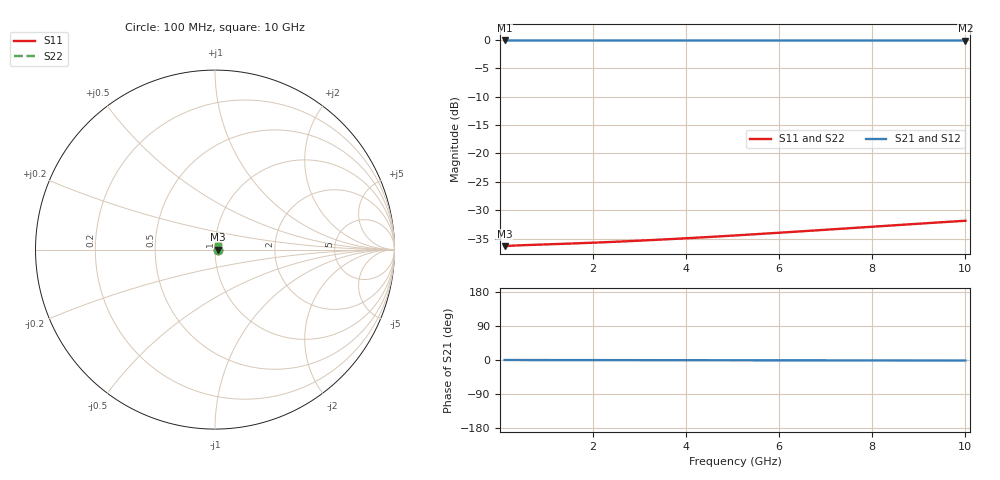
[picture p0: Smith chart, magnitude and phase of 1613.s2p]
# Hz S RI R 50.00
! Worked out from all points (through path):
!   100 points, 100 MHz to 10 GHz, reference 50 ohm
!   highest |S21| = -0.13 dB at 100 MHz (marker M1); lowest = -0.1 dB at 10 GHz (marker M2)
!   lowest |S11| = -36.3 dB at 100 MHz (marker M3), VSWR 1.03, Z = 51.5 + j0.0199 ohm
!   |S11| at or under -10 dB: start of sweep to end of sweep
!   |S22| runs from -36.3 to -31.9 dB; largest |S21 - S12| = 0
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1e8  0.0152 0.000193  0.9848 -0.00024  0.9848 -0.00024  0.0152 0.000193
2e8  0.0153 0.000387  0.9847 -0.000479  0.9847 -0.000479  0.0153 0.000387
3e8  0.0154 0.00058  0.9846 -0.000719  0.9846 -0.000719  0.0154 0.00058
4e8  0.0155 0.000773  0.9845 -0.000958  0.9845 -0.000958  0.0155 0.000773
5e8  0.0155 0.000966  0.9845 -0.0012  0.9845 -0.0012  0.0155 0.000966
7e8  0.0156 0.00135  0.9844 -0.00168  0.9844 -0.00168  0.0156 0.00135
1.4e9  0.0158 0.0027  0.9842 -0.00335  0.9842 -0.00335  0.0158 0.0027
1.8e9  0.0158 0.00348  0.9841 -0.00431  0.9841 -0.00431  0.0158 0.00348
2.2e9  0.0159 0.00425  0.9841 -0.00527  0.9841 -0.00527  0.0159 0.00425
2.6e9  0.016 0.00502  0.984 -0.00622  0.984 -0.00622  0.016 0.00502
3e9  0.016 0.00579  0.984 -0.00718  0.984 -0.00718  0.016 0.00579
3.4e9  0.0161 0.00656  0.9839 -0.00814  0.9839 -0.00814  0.0161 0.00656
3.8e9  0.0161 0.00733  0.9839 -0.00909  0.9839 -0.00909  0.0161 0.00733
4.2e9  0.0161 0.00811  0.9838 -0.0101  0.9838 -0.0101  0.0161 0.00811
4.6e9  0.0162 0.00888  0.9838 -0.011  0.9838 -0.011  0.0162 0.00888
5.1e9  0.0162 0.00984  0.9838 -0.0122  0.9838 -0.0122  0.0162 0.00984
5.8e9  0.0163 0.0112  0.9837 -0.0139  0.9837 -0.0139  0.0163 0.0112
6.2e9  0.0163 0.012  0.9837 -0.0148  0.9837 -0.0148  0.0163 0.012
6.7e9  0.0164 0.0129  0.9836 -0.016  0.9836 -0.016  0.0164 0.0129
8.4e9  0.0165 0.0162  0.9835 -0.0201  0.9835 -0.0201  0.0165 0.0162
9.3e9  0.0166 0.0179  0.9834 -0.0222  0.9834 -0.0222  0.0166 0.0179
1e10  0.0167 0.0193  0.9833 -0.0239  0.9833 -0.0239  0.0167 0.0193
